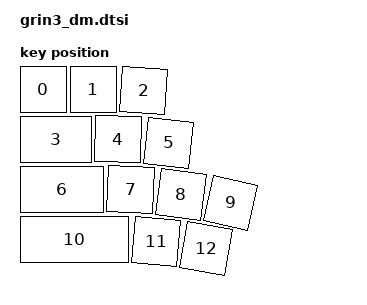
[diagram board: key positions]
#include <dt-bindings/zmk/matrix_transform.h>
#include <physical_layouts.dtsi>
#include <dt-bindings/zmk/bt.h>

#define INPUT_EV_KEY 0x01               /**< Key event */
#define INPUT_EV_REL 0x02               /**< Relative coordinate event */
#define INPUT_EV_ABS 0x03               /**< Absolute coordinate event */
#define INPUT_EV_MSC 0x04               /**< Miscellaneous event */
#define INPUT_EV_VENDOR_START 0xf0      /**< Vendor specific event start */
#define INPUT_EV_VENDOR_STOP 0xff       /**< Vendor specific event stop */

#define INPUT_REL_X 0x00                /**< Relative X coordinate */
#define INPUT_REL_Y 0x01                /**< Relative Y coordinate */
#define INPUT_REL_WHEEL 0x08            /**< Relative wheel coordinate */
#define INPUT_REL_HWHEEL 0x06           /**< Relative horizontal wheel coordinate */
#define INPUT_REL_MISC 0x09             /**< Relative misc coordinate */

/ {
  chosen {
    zmk,physical-layout = &grin3_physical_layout;
  };

  grin3_physical_layout: grin3_physical_layout {
      compatible = "zmk,physical-layout";
      display-name = "Default";
      transform = <&default_transform>;
      kscan = <&kscan0>;

      keys  //                     w   h    x    y     rot    rx    ry
          = <&key_physical_attrs 100 100    0    0       0     0     0>
          , <&key_physical_attrs 100 100  100    0       0     0     0>
          , <&key_physical_attrs 100 100  201    2     375   251    52>
          , <&key_physical_attrs 150 100    0  100       0     0     0>
          , <&key_physical_attrs 100 100  150  100     125   200   150>
          , <&key_physical_attrs 100 100  251  107     625   301   157>
          , <&key_physical_attrs 175 100    0  200       0     0     0>
          , <&key_physical_attrs 100 100  175  201     250   225   251>
          , <&key_physical_attrs 100 100  276  210     750   326   260>
          , <&key_physical_attrs 100 100  375  227    1250   425   277>
          , <&key_physical_attrs 225 100    0  300       0     0     0>
          , <&key_physical_attrs 100 100  226  304     500   276   354>
          , <&key_physical_attrs 100 100  326  318    1000   376   368>
          ;
    };
};

&trackball {
    status = "okay";
    	irq-gpios = <&xiao_d 3 (GPIO_ACTIVE_LOW | GPIO_PULL_UP)>;
    	cpi = <400>;
    	evt-type = <INPUT_EV_REL>;
    	x-input-code = <INPUT_REL_X>;
    	y-input-code = <INPUT_REL_Y>;
};

&spi0 {
    status = "okay";
    pinctrl-0 = <&spi0_default>;
    pinctrl-1 = <&spi0_sleep>;
    pinctrl-names = "default", "sleep";
    cs-gpios = <&gpio0 9 GPIO_ACTIVE_LOW>;
};
